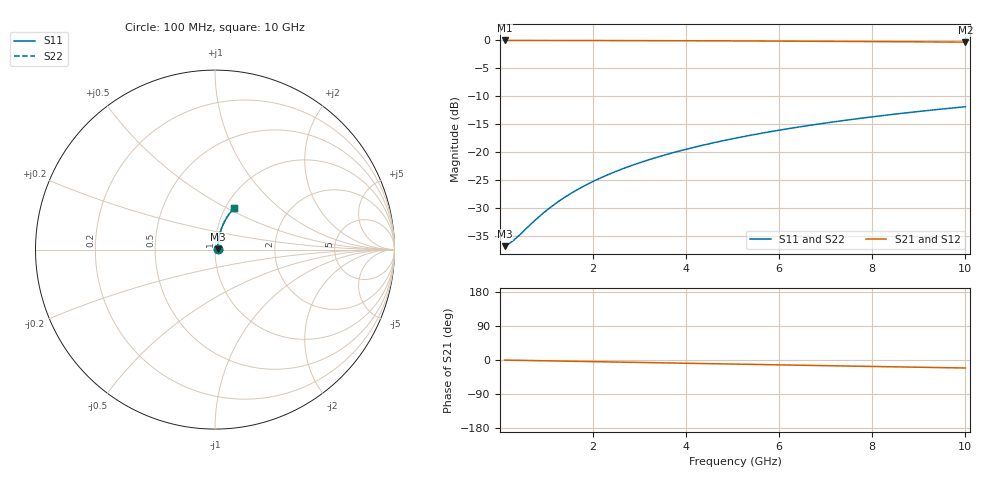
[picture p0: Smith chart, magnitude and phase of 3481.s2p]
# Hz S RI R 50.00
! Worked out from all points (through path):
!   100 points, 100 MHz to 10 GHz, reference 50 ohm
!   highest |S21| = -0.13 dB at 100 MHz (marker M1); lowest = -0.4 dB at 10 GHz (marker M2)
!   group delay of S21, straight-line fit = 5.87 ps
!   lowest |S11| = -36.7 dB at 100 MHz (marker M3), VSWR 1.03, Z = 51.5 + j0.267 ohm
!   |S11| at or under -10 dB: start of sweep to end of sweep
!   |S22| runs from -36.7 to -11.9 dB; largest |S21 - S12| = 0
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1e8  0.0143 0.00259  0.9857 -0.00371  0.9857 -0.00371  0.0143 0.00259
2e8  0.0144 0.00518  0.9855 -0.00741  0.9855 -0.00741  0.0144 0.00518
3e8  0.0146 0.00777  0.9854 -0.0111  0.9854 -0.0111  0.0146 0.00777
8e8  0.0153 0.0207  0.9846 -0.0296  0.9846 -0.0296  0.0153 0.0207
9e8  0.0155 0.0233  0.9844 -0.0333  0.9844 -0.0333  0.0155 0.0233
1.1e9  0.016 0.0284  0.984 -0.0407  0.984 -0.0407  0.016 0.0284
1.4e9  0.0168 0.0361  0.9831 -0.0518  0.9831 -0.0518  0.0168 0.0361
1.6e9  0.0174 0.0413  0.9824 -0.0591  0.9824 -0.0591  0.0174 0.0413
1.8e9  0.0181 0.0464  0.9817 -0.0665  0.9817 -0.0665  0.0181 0.0464
2.1e9  0.0193 0.0541  0.9804 -0.0775  0.9804 -0.0775  0.0193 0.0541
2.5e9  0.0211 0.0642  0.9785 -0.0921  0.9785 -0.0921  0.0211 0.0642
2.9e9  0.0233 0.0743  0.9762 -0.1067  0.9762 -0.1067  0.0233 0.0743
3.4e9  0.0263 0.0868  0.9729 -0.1248  0.9729 -0.1248  0.0263 0.0868
3.8e9  0.0291 0.0966  0.9699 -0.1391  0.9699 -0.1391  0.0291 0.0966
4.2e9  0.0322 0.1064  0.9666 -0.1534  0.9666 -0.1534  0.0322 0.1064
4.6e9  0.0356 0.116  0.9631 -0.1675  0.9631 -0.1675  0.0356 0.116
5.1e9  0.0401 0.1279  0.9582 -0.185  0.9582 -0.185  0.0401 0.1279
5.9e9  0.0484 0.1465  0.9494 -0.2125  0.9494 -0.2125  0.0484 0.1465
6.7e9  0.0576 0.1644  0.9395 -0.2395  0.9395 -0.2395  0.0576 0.1644
7.5e9  0.0678 0.1817  0.9286 -0.2657  0.9286 -0.2657  0.0678 0.1817
8.4e9  0.0803 0.2002  0.9151 -0.2944  0.9151 -0.2944  0.0803 0.2002
1e10  0.1052 0.2306  0.8883 -0.343  0.8883 -0.343  0.1052 0.2306
